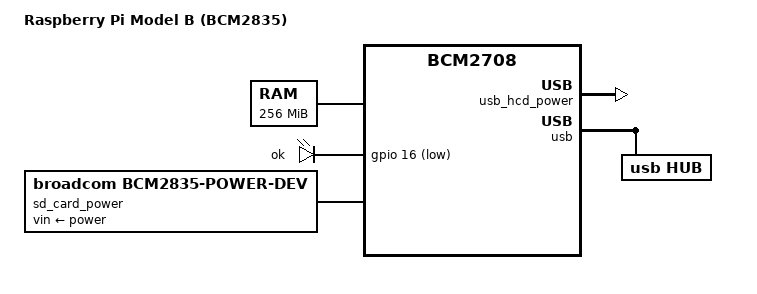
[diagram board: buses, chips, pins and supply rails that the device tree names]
/dts-v1/;
/memreserve/ 0x08000000 0x08000000;	/* Set by VideoCore */
/include/ "bcm2835.dtsi"

/ {
	model = "Raspberry Pi Model B (BCM2835)";
	#address-cells = <1>;
	#size-cells = <1>;
	compatible = "raspberrypi,model-b", "broadcom,bcm2835", "broadcom,bcm2708";

	memory {
		device_type = "memory";
		reg = <0 0x10000000>; /* 256MB */
	};

	leds {
		compatible = "gpio-leds";

		ok {
			label = "ok";
			gpios = <&gpio 16 1>;

			/* Don't change this - it configures
			 * how the led driver determines if
			 * the led is on or off when it loads.
			 */
			default-state = "keep";

			/* This is the real default state. */
			linux,default-trigger = "default-on";
		};
	};

	power: regulator {
		compatible = "broadcom,bcm2835-power-mgr", "broadcom,bcm2708-power-mgr", "simple-bus";
		#address-cells = <1>;
		#size-cells = <0>;

		broadcom,vc-mailbox = <&vc_mbox>;
		broadcom,vc-channel = <0>;

		regulator-name = "VideoCore";
		regulator-min-microvolt = <5000000>;
		regulator-max-microvolt = <5000000>;
		regulator-always-on = <1>;

		sd_card_power: regulator@0 {
			compatible = "broadcom,bcm2835-power-dev", "broadcom,bcm2708-power-dev";
			reg = <0>;

			vin-supply = <&power>;
			regulator-name = "SD Card";
			regulator-min-microvolt = <3300000>;
			regulator-max-microvolt = <3300000>;
		};

		/* This is for the controller itself, not the root port */
		usb_hcd_power: regulator@3 {
			compatible = "broadcom,bcm2835-power-dev", "broadcom,bcm2708-power-dev";
			reg = <3>;

			vin-supply = <&power>;
			regulator-name = "USB HCD";
			regulator-min-microvolt = <5000000>;
			regulator-max-microvolt = <5000000>;
		};
	};

	axi {
		uart0 {
			pinctrl-names = "default";
			pinctrl-0 = <&pins_uart0_a>;
		};

		spi {
			pinctrl-names = "default";
			pinctrl-0 = <&pins_spi0_a>;
		};

		bsc0 {
			pinctrl-names = "default";
			pinctrl-0 = <&pins_bsc0_a>;
			clock-frequency = <100000>;
		};

		uart1 {
			status = "disable";
		};

		bsc1 {
			pinctrl-names = "default";
			pinctrl-0 = <&pins_bsc1_a>;
			clock-frequency = <100000>;
		};


		sdhci {
			vmmc-supply = <&sd_card_power>;
		};

		usb {
			hcd-supply = <&usb_hcd_power>;

			hub {
				compatible = "usb,hub", "usb,device";
				port = <1>;

				ethernet {
					compatible = "net,ethernet", "usb,device";
					port = <1>;

					mac-address = [00 00 00 00 00 00];	/* Set by VideoCore */
				};
			};
		};
	};
};
